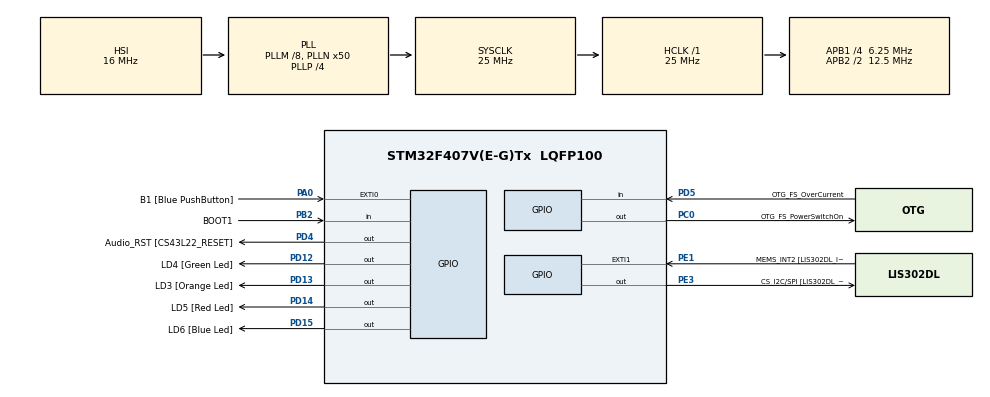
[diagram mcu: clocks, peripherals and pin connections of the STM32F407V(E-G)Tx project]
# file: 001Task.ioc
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Mcu.Family=STM32F4
Mcu.Name=STM32F407V(E-G)Tx
Mcu.Package=LQFP100
NVIC.PriorityGroup=NVIC_PRIORITYGROUP_4
NVIC.TIM6_DAC_IRQn=true\:0\:0\:false\:false\:true\:false\:true
NVIC.TimeBase=TIM6_DAC_IRQn
NVIC.TimeBaseIP=TIM6
PA0-WKUP.GPIO_Label=B1 [Blue PushButton]
PA0-WKUP.Signal=GPXTI0
PA10.GPIO_Label=OTG_FS_ID
PA10.GPIO_Mode=GPIO_MODE_AF_PP
PA10.GPIO_PuPd=GPIO_NOPULL
PA10.GPIO_Speed=GPIO_SPEED_FREQ_LOW
PA10.Signal=USB_OTG_FS_ID
PA11.GPIO_Label=OTG_FS_DM
PA11.GPIO_Mode=GPIO_MODE_AF_PP
PA11.GPIO_PuPd=GPIO_NOPULL
PA11.GPIO_Speed=GPIO_SPEED_FREQ_LOW
PA11.Signal=USB_OTG_FS_DM
PA12.GPIO_Label=OTG_FS_DP
PA12.GPIO_Mode=GPIO_MODE_AF_PP
PA12.GPIO_PuPd=GPIO_NOPULL
PA12.GPIO_Speed=GPIO_SPEED_FREQ_LOW
PA12.Signal=USB_OTG_FS_DP
PA13.GPIO_Label=SWDIO
PA13.Signal=SYS_JTMS-SWDIO
PA14.GPIO_Label=SWCLK
PA14.Signal=SYS_JTCK-SWCLK
PA4.GPIO_Label=I2S3_WS [CS43L22_LRCK]
PA4.GPIO_Mode=GPIO_MODE_AF_PP
PA4.GPIO_PuPd=GPIO_NOPULL
PA4.GPIO_Speed=GPIO_SPEED_FREQ_LOW
PA4.Signal=I2S3_WS
PA5.GPIO_Label=SPI1_SCK [LIS302DL_SCL/SPC]
PA5.GPIO_Mode=GPIO_MODE_AF_PP
PA5.GPIO_PuPd=GPIO_NOPULL
PA5.GPIO_Speed=GPIO_SPEED_FREQ_LOW
PA5.Signal=SPI1_SCK
PA6.GPIO_Label=SPI1_MISO [LIS302DL_SDO]
PA6.GPIO_Mode=GPIO_MODE_AF_PP
PA6.GPIO_PuPd=GPIO_NOPULL
PA6.GPIO_Speed=GPIO_SPEED_FREQ_LOW
PA6.Signal=SPI1_MISO
PA7.GPIO_Label=SPI1_MOSI [LIS302DL_SDA/SDI/SDO]
PA7.GPIO_Mode=GPIO_MODE_AF_PP
PA7.GPIO_PuPd=GPIO_NOPULL
PA7.GPIO_Speed=GPIO_SPEED_FREQ_LOW
PA7.Signal=SPI1_MOSI
PA9.GPIO_Label=VBUS_FS
PA9.GPIO_Mode=GPIO_MODE_INPUT
PA9.GPIO_PuPd=GPIO_NOPULL
PA9.Signal=USB_OTG_FS_VBUS
PB10.GPIO_Label=CLK_IN [MP45DT02_CLK]
PB10.GPIO_Mode=GPIO_MODE_AF_PP
PB10.GPIO_PuPd=GPIO_NOPULL
PB10.GPIO_Speed=GPIO_SPEED_FREQ_LOW
PB10.Signal=I2S2_CK
PB2.GPIO_Label=BOOT1
PB2.GPIO_Mode=GPIO_MODE_INPUT
PB2.GPIO_PuPd=GPIO_NOPULL
PB2.Signal=GPIO_Input
PB3.GPIO_Label=SWO
PB3.Signal=SYS_JTDO-SWO
PB6.GPIO_Label=Audio_SCL [CS43L22_SCL]
PB6.GPIO_Mode=GPIO_MODE_AF_OD
PB6.GPIO_PuPd=GPIO_NOPULL
PB6.GPIO_Speed=GPIO_SPEED_FREQ_LOW
PB6.Signal=I2C1_SCL
PB9.GPIO_Label=Audio_SDA [CS43L22_SDA]
PB9.GPIO_Mode=GPIO_MODE_AF_OD
PB9.GPIO_PuPd=GPIO_NOPULL
PB9.GPIO_Speed=GPIO_SPEED_FREQ_LOW
PB9.Signal=I2C1_SDA
PC0.GPIO_Label=OTG_FS_PowerSwitchOn
PC0.GPIO_PuPd=GPIO_NOPULL
PC0.GPIO_Speed=GPIO_SPEED_FREQ_LOW
PC0.PinState=GPIO_PIN_SET
PC0.Signal=GPIO_Output
PC10.GPIO_Label=I2S3_SCK [CS43L22_SCLK]
PC10.GPIO_Mode=GPIO_MODE_AF_PP
PC10.GPIO_PuPd=GPIO_NOPULL
PC10.GPIO_Speed=GPIO_SPEED_FREQ_LOW
PC10.Signal=I2S3_CK
PC12.GPIO_Label=I2S3_SD [CS43L22_SDIN]
PC12.GPIO_Mode=GPIO_MODE_AF_PP
PC12.GPIO_PuPd=GPIO_NOPULL
PC12.GPIO_Speed=GPIO_SPEED_FREQ_LOW
PC12.Signal=I2S3_SD
PC14-OSC32_IN.GPIO_Label=PC14-OSC32_IN
PC14-OSC32_IN.Signal=RCC_OSC32_IN
PC15-OSC32_OUT.GPIO_Label=PC15-OSC32_OUT
PC15-OSC32_OUT.Signal=RCC_OSC32_OUT
PC3.GPIO_Label=PDM_OUT [MP45DT02_DOUT]
PC3.GPIO_Mode=GPIO_MODE_AF_PP
PC3.GPIO_PuPd=GPIO_NOPULL
PC3.GPIO_Speed=GPIO_SPEED_FREQ_LOW
PC3.Signal=I2S2_SD
PC7.GPIO_Label=I2S3_MCK [CS43L22_MCLK]
PC7.GPIO_Mode=GPIO_MODE_AF_PP
PC7.GPIO_PuPd=GPIO_NOPULL
PC7.GPIO_Speed=GPIO_SPEED_FREQ_LOW
PC7.Signal=I2S3_MCK
PD12.GPIO_Label=LD4 [Green Led]
PD12.GPIO_PuPd=GPIO_NOPULL
PD12.GPIO_Speed=GPIO_SPEED_FREQ_LOW
PD12.Signal=GPIO_Output
PD13.GPIO_Label=LD3 [Orange Led]
PD13.GPIO_PuPd=GPIO_NOPULL
PD13.GPIO_Speed=GPIO_SPEED_FREQ_LOW
PD13.Signal=GPIO_Output
PD14.GPIO_Label=LD5 [Red Led]
PD14.GPIO_PuPd=GPIO_NOPULL
PD14.GPIO_Speed=GPIO_SPEED_FREQ_LOW
PD14.Signal=GPIO_Output
PD15.GPIO_Label=LD6 [Blue Led]
PD15.GPIO_PuPd=GPIO_NOPULL
PD15.GPIO_Speed=GPIO_SPEED_FREQ_LOW
PD15.Signal=GPIO_Output
PD4.GPIO_Label=Audio_RST [CS43L22_RESET]
PD4.GPIO_PuPd=GPIO_NOPULL
PD4.GPIO_Speed=GPIO_SPEED_FREQ_LOW
PD4.Signal=GPIO_Output
PD5.GPIO_Label=OTG_FS_OverCurrent
PD5.GPIO_Mode=GPIO_MODE_INPUT
PD5.GPIO_PuPd=GPIO_NOPULL
PD5.Signal=GPIO_Input
PE1.GPIO_Label=MEMS_INT2 [LIS302DL_INT2]
PE1.GPIO_ModeDefaultEXTI=GPIO_MODE_EVT_RISING
PE1.GPIO_PuPd=GPIO_NOPULL
PE1.Signal=GPXTI1
PE3.GPIO_Label=CS_I2C/SPI [LIS302DL_CS_I2C/SPI]
PE3.GPIO_PuPd=GPIO_NOPULL
PE3.GPIO_Speed=GPIO_SPEED_FREQ_LOW
PE3.Signal=GPIO_Output
PH0-OSC_IN.GPIO_Label=PH0-OSC_IN
PH0-OSC_IN.Signal=RCC_OSC_IN
PH1-OSC_OUT.GPIO_Label=PH1-OSC_OUT
PH1-OSC_OUT.Signal=RCC_OSC_OUT
ProjectManager.HeapSize=0x200
ProjectManager.StackSize=0x400
ProjectManager.TargetToolchain=STM32CubeIDE
RCC.48MHZClocksFreq_Value=14285714.285714285
RCC.AHBFreq_Value=25000000
RCC.APB1CLKDivider=RCC_HCLK_DIV4
RCC.APB1Freq_Value=6250000
RCC.APB1TimFreq_Value=12500000
RCC.APB2CLKDivider=RCC_HCLK_DIV2
RCC.APB2Freq_Value=12500000
RCC.APB2TimFreq_Value=25000000
RCC.CortexFreq_Value=25000000
RCC.HCLKFreq_Value=25000000
RCC.HSE_VALUE=8000000
RCC.HSI_VALUE=16000000
RCC.LSE_VALUE=32768
RCC.PLLM=8
RCC.PLLN=50
RCC.PLLP=RCC_PLLP_DIV4
RCC.PLLQ=7
RCC.SYSCLKFreq_VALUE=25000000
RCC.SYSCLKSource=RCC_SYSCLKSOURCE_PLLCLK
RCC.VCOOutputFreq_Value=100000000
VP_SYS_VS_tim6.Mode=TIM6
board=STM32F407G-DISC1

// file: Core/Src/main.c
/* USER CODE BEGIN Header */
/**
  ******************************************************************************
  * @file           : main.c
  * @brief          : Main program body
  ******************************************************************************
  * @attention
  *
  * Copyright (c) 2022 STMicroelectronics.
  * All rights reserved.
  *
  * This software is licensed under terms that can be found in the LICENSE file
  * in the root directory of this software component.
  * If no LICENSE file comes with this software, it is provided AS-IS.
  *
  ******************************************************************************
  */
/* USER CODE END Header */
#include "main.h"

/* USER CODE BEGIN Includes */
#include <stdio.h>
#include "FreeRTOS.h"
#include "task.h"
/* USER CODE END Includes */

/* USER CODE BEGIN PV */
#define DWT_CTRL 	(*(volatile uint32_t*)0xE0001000)
/* USER CODE END PV */

void SystemClock_Config(void);
static void MX_GPIO_Init(void);
/* USER CODE BEGIN PFP */
static void task1_handler(void *parameter);
static void task2_handler(void *parameter);
/* USER CODE END PFP */

int main(void)
{
  /* USER CODE BEGIN 1 */
	TaskHandle_t task1_handle;
	TaskHandle_t task2_handle;

	BaseType_t status;
  /* USER CODE END 1 */

  /* MCU Configuration--------------------------------------------------------*/

  /* Reset of all peripherals, Initializes the Flash interface and the Systick. */
  HAL_Init();

  /* Configure the system clock */
  SystemClock_Config();

  /* Initialize all configured peripherals */
  MX_GPIO_Init();
  /* USER CODE BEGIN 2 */

  DWT_CTRL |= (1<<0);

  SEGGER_SYSVIEW_Conf();
  SEGGER_SYSVIEW_Start();

  status = xTaskCreate(task1_handler, "Task-1", 200, "Hello World from task 1", 2, &task1_handle);
  configASSERT(status == pdPASS);
  status = xTaskCreate(task2_handler, "Task-2", 200, "Hello World from task 2", 2, &task2_handle);
  configASSERT(status == pdPASS);

  vTaskStartScheduler();

  /* USER CODE END 2 */

  /* Infinite loop */
  while (1)
  {

  }
}

void SystemClock_Config(void)
{
  RCC_OscInitTypeDef RCC_OscInitStruct = {0};
  RCC_ClkInitTypeDef RCC_ClkInitStruct = {0};

  /** Configure the main internal regulator output voltage
  */
  __HAL_RCC_PWR_CLK_ENABLE();
  __HAL_PWR_VOLTAGESCALING_CONFIG(PWR_REGULATOR_VOLTAGE_SCALE1);
  /** Initializes the RCC Oscillators according to the specified parameters
  * in the RCC_OscInitTypeDef structure.
  */
  RCC_OscInitStruct.OscillatorType = RCC_OSCILLATORTYPE_HSI;
  RCC_OscInitStruct.HSIState = RCC_HSI_ON;
  RCC_OscInitStruct.HSICalibrationValue = RCC_HSICALIBRATION_DEFAULT;
  RCC_OscInitStruct.PLL.PLLState = RCC_PLL_ON;
  RCC_OscInitStruct.PLL.PLLSource = RCC_PLLSOURCE_HSI;
  RCC_OscInitStruct.PLL.PLLM = 8;
  RCC_OscInitStruct.PLL.PLLN = 50;
  RCC_OscInitStruct.PLL.PLLP = RCC_PLLP_DIV4;
  RCC_OscInitStruct.PLL.PLLQ = 7;
  if (HAL_RCC_OscConfig(&RCC_OscInitStruct) != HAL_OK)
  {
    Error_Handler();
  }
  /** Initializes the CPU, AHB and APB buses clocks
  */
  RCC_ClkInitStruct.ClockType = RCC_CLOCKTYPE_HCLK|RCC_CLOCKTYPE_SYSCLK
                              |RCC_CLOCKTYPE_PCLK1|RCC_CLOCKTYPE_PCLK2;
  RCC_ClkInitStruct.SYSCLKSource = RCC_SYSCLKSOURCE_PLLCLK;
  RCC_ClkInitStruct.AHBCLKDivider = RCC_SYSCLK_DIV1;
  RCC_ClkInitStruct.APB1CLKDivider = RCC_HCLK_DIV4;
  RCC_ClkInitStruct.APB2CLKDivider = RCC_HCLK_DIV2;

  if (HAL_RCC_ClockConfig(&RCC_ClkInitStruct, FLASH_LATENCY_0) != HAL_OK)
  {
    Error_Handler();
  }
}

static void MX_GPIO_Init(void)
{
  GPIO_InitTypeDef GPIO_InitStruct = {0};

  /* GPIO Ports Clock Enable */
  __HAL_RCC_GPIOE_CLK_ENABLE();
  __HAL_RCC_GPIOC_CLK_ENABLE();
  __HAL_RCC_GPIOH_CLK_ENABLE();
  __HAL_RCC_GPIOA_CLK_ENABLE();
  __HAL_RCC_GPIOB_CLK_ENABLE();
  __HAL_RCC_GPIOD_CLK_ENABLE();

  /*Configure GPIO pin Output Level */
  HAL_GPIO_WritePin(CS_I2C_SPI_GPIO_Port, CS_I2C_SPI_Pin, GPIO_PIN_RESET);

  /*Configure GPIO pin Output Level */
  HAL_GPIO_WritePin(OTG_FS_PowerSwitchOn_GPIO_Port, OTG_FS_PowerSwitchOn_Pin, GPIO_PIN_SET);

  /*Configure GPIO pin Output Level */
  HAL_GPIO_WritePin(GPIOD, LD4_Pin|LD3_Pin|LD5_Pin|LD6_Pin
                          |Audio_RST_Pin, GPIO_PIN_RESET);

  /*Configure GPIO pin : CS_I2C_SPI_Pin */
  GPIO_InitStruct.Pin = CS_I2C_SPI_Pin;
  GPIO_InitStruct.Mode = GPIO_MODE_OUTPUT_PP;
  GPIO_InitStruct.Pull = GPIO_NOPULL;
  GPIO_InitStruct.Speed = GPIO_SPEED_FREQ_LOW;
  HAL_GPIO_Init(CS_I2C_SPI_GPIO_Port, &GPIO_InitStruct);

  /*Configure GPIO pin : OTG_FS_PowerSwitchOn_Pin */
  GPIO_InitStruct.Pin = OTG_FS_PowerSwitchOn_Pin;
  GPIO_InitStruct.Mode = GPIO_MODE_OUTPUT_PP;
  GPIO_InitStruct.Pull = GPIO_NOPULL;
  GPIO_InitStruct.Speed = GPIO_SPEED_FREQ_LOW;
  HAL_GPIO_Init(OTG_FS_PowerSwitchOn_GPIO_Port, &GPIO_InitStruct);

  /*Configure GPIO pin : PDM_OUT_Pin */
  GPIO_InitStruct.Pin = PDM_OUT_Pin;
  GPIO_InitStruct.Mode = GPIO_MODE_AF_PP;
  GPIO_InitStruct.Pull = GPIO_NOPULL;
  GPIO_InitStruct.Speed = GPIO_SPEED_FREQ_LOW;
  GPIO_InitStruct.Alternate = GPIO_AF5_SPI2;
  HAL_GPIO_Init(PDM_OUT_GPIO_Port, &GPIO_InitStruct);

  /*Configure GPIO pin : B1_Pin */
  GPIO_InitStruct.Pin = B1_Pin;
  GPIO_InitStruct.Mode = GPIO_MODE_IT_RISING;
  GPIO_InitStruct.Pull = GPIO_NOPULL;
  HAL_GPIO_Init(B1_GPIO_Port, &GPIO_InitStruct);

  /*Configure GPIO pin : I2S3_WS_Pin */
  GPIO_InitStruct.Pin = I2S3_WS_Pin;
  GPIO_InitStruct.Mode = GPIO_MODE_AF_PP;
  GPIO_InitStruct.Pull = GPIO_NOPULL;
  GPIO_InitStruct.Speed = GPIO_SPEED_FREQ_LOW;
  GPIO_InitStruct.Alternate = GPIO_AF6_SPI3;
  HAL_GPIO_Init(I2S3_WS_GPIO_Port, &GPIO_InitStruct);

  /*Configure GPIO pins : SPI1_SCK_Pin SPI1_MISO_Pin SPI1_MOSI_Pin */
  GPIO_InitStruct.Pin = SPI1_SCK_Pin|SPI1_MISO_Pin|SPI1_MOSI_Pin;
  GPIO_InitStruct.Mode = GPIO_MODE_AF_PP;
  GPIO_InitStruct.Pull = GPIO_NOPULL;
  GPIO_InitStruct.Speed = GPIO_SPEED_FREQ_LOW;
  GPIO_InitStruct.Alternate = GPIO_AF5_SPI1;
  HAL_GPIO_Init(GPIOA, &GPIO_InitStruct);

  /*Configure GPIO pin : BOOT1_Pin */
  GPIO_InitStruct.Pin = BOOT1_Pin;
  GPIO_InitStruct.Mode = GPIO_MODE_INPUT;
  GPIO_InitStruct.Pull = GPIO_NOPULL;
  HAL_GPIO_Init(BOOT1_GPIO_Port, &GPIO_InitStruct);

  /*Configure GPIO pin : CLK_IN_Pin */
  GPIO_InitStruct.Pin = CLK_IN_Pin;
  GPIO_InitStruct.Mode = GPIO_MODE_AF_PP;
  GPIO_InitStruct.Pull = GPIO_NOPULL;
  GPIO_InitStruct.Speed = GPIO_SPEED_FREQ_LOW;
  GPIO_InitStruct.Alternate = GPIO_AF5_SPI2;
  HAL_GPIO_Init(CLK_IN_GPIO_Port, &GPIO_InitStruct);

  /*Configure GPIO pins : LD4_Pin LD3_Pin LD5_Pin LD6_Pin
                           Audio_RST_Pin */
  GPIO_InitStruct.Pin = LD4_Pin|LD3_Pin|LD5_Pin|LD6_Pin
                          |Audio_RST_Pin;
  GPIO_InitStruct.Mode = GPIO_MODE_OUTPUT_PP;
  GPIO_InitStruct.Pull = GPIO_NOPULL;
  GPIO_InitStruct.Speed = GPIO_SPEED_FREQ_LOW;
  HAL_GPIO_Init(GPIOD, &GPIO_InitStruct);

  /*Configure GPIO pins : I2S3_MCK_Pin I2S3_SCK_Pin I2S3_SD_Pin */
  GPIO_InitStruct.Pin = I2S3_MCK_Pin|I2S3_SCK_Pin|I2S3_SD_Pin;
  GPIO_InitStruct.Mode = GPIO_MODE_AF_PP;
  GPIO_InitStruct.Pull = GPIO_NOPULL;
  GPIO_InitStruct.Speed = GPIO_SPEED_FREQ_LOW;
  GPIO_InitStruct.Alternate = GPIO_AF6_SPI3;
  HAL_GPIO_Init(GPIOC, &GPIO_InitStruct);

  /*Configure GPIO pin : VBUS_FS_Pin */
  GPIO_InitStruct.Pin = VBUS_FS_Pin;
  GPIO_InitStruct.Mode = GPIO_MODE_INPUT;
  GPIO_InitStruct.Pull = GPIO_NOPULL;
  HAL_GPIO_Init(VBUS_FS_GPIO_Port, &GPIO_InitStruct);

  /*Configure GPIO pins : OTG_FS_ID_Pin OTG_FS_DM_Pin OTG_FS_DP_Pin */
  GPIO_InitStruct.Pin = OTG_FS_ID_Pin|OTG_FS_DM_Pin|OTG_FS_DP_Pin;
  GPIO_InitStruct.Mode = GPIO_MODE_AF_PP;
  GPIO_InitStruct.Pull = GPIO_NOPULL;
  GPIO_InitStruct.Speed = GPIO_SPEED_FREQ_LOW;
  GPIO_InitStruct.Alternate = GPIO_AF10_OTG_FS;
  HAL_GPIO_Init(GPIOA, &GPIO_InitStruct);

  /*Configure GPIO pin : OTG_FS_OverCurrent_Pin */
  GPIO_InitStruct.Pin = OTG_FS_OverCurrent_Pin;
  GPIO_InitStruct.Mode = GPIO_MODE_INPUT;
  GPIO_InitStruct.Pull = GPIO_NOPULL;
  HAL_GPIO_Init(OTG_FS_OverCurrent_GPIO_Port, &GPIO_InitStruct);

  /*Configure GPIO pins : Audio_SCL_Pin Audio_SDA_Pin */
  GPIO_InitStruct.Pin = Audio_SCL_Pin|Audio_SDA_Pin;
  GPIO_InitStruct.Mode = GPIO_MODE_AF_OD;
  GPIO_InitStruct.Pull = GPIO_NOPULL;
  GPIO_InitStruct.Speed = GPIO_SPEED_FREQ_LOW;
  GPIO_InitStruct.Alternate = GPIO_AF4_I2C1;
  HAL_GPIO_Init(GPIOB, &GPIO_InitStruct);

  /*Configure GPIO pin : MEMS_INT2_Pin */
  GPIO_InitStruct.Pin = MEMS_INT2_Pin;
  GPIO_InitStruct.Mode = GPIO_MODE_EVT_RISING;
  GPIO_InitStruct.Pull = GPIO_NOPULL;
  HAL_GPIO_Init(MEMS_INT2_GPIO_Port, &GPIO_InitStruct);

}

/* USER CODE BEGIN 4 */

void task1_handler(void *parameters) {

	char msg[100];

	while(1) {
		snprintf(msg, 100, (char *)parameters);
		SEGGER_SYSVIEW_PrintfTarget(msg);
		taskYIELD();
	}
}

void task2_handler(void *parameters) {

	char msg[100];

	while(1) {
		snprintf(msg, 100, (char *)parameters);
		SEGGER_SYSVIEW_PrintfTarget(msg);
		taskYIELD();
	}
}

/* USER CODE END 4 */

void HAL_TIM_PeriodElapsedCallback(TIM_HandleTypeDef *htim)
{
  if (htim->Instance == TIM6) {
    HAL_IncTick();
  }
}

void Error_Handler(void)
{
  __disable_irq();
  while (1)
  {
  }
}
